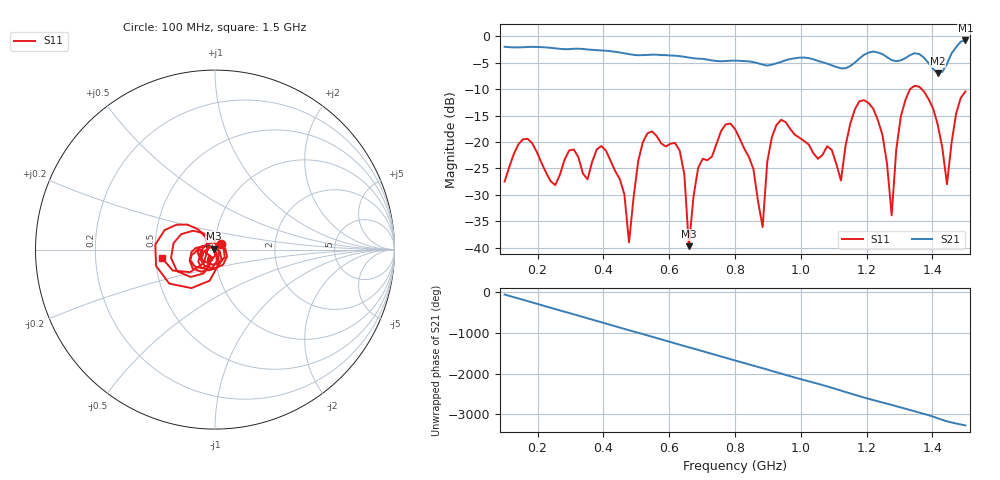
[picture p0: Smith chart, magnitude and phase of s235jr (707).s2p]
! NanoVNA-App
! Date: 2025-09-25 15:09:40
! Start: 100MHz Stop: 1,5GHz Points: 101
! S-Parameter data: F S11 S21 S12 S22
# Hz S RI R 50
!  Frequency  S11_Real  S11_Imag  S21_Real  S21_Imag  S12_Real  S12_Imag  S22_Real  S22_Imag
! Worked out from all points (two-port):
!   101 points, 100 MHz to 1.5 GHz, reference 50 ohm
!   highest |S21| = -0.77 dB at 1.5 GHz (marker M1); lowest = -7.0 dB at 1.416 GHz (marker M2)
!   |S21| within 3 dB of the highest: start of sweep to 635.4 MHz; 1.186 GHz to 1.258 GHz (71.7 MHz wide, 5.87 % of centre) (the widest 2 of 4)
!   lowest |S11| = -39.7 dB at 660 MHz (marker M3), VSWR 1.02, Z = 49.2 + j0.602 ohm
!   |S11| at or under -10 dB: start of sweep to 1.332 GHz; 1.367 GHz to end of sweep
!   S12 and S22 are empty: the file has one direction only
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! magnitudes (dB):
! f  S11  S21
! 100 MHz  -27.5  -2.0
! 170 MHz  -19.4  -2.0
! 338 MHz  -26.0  -2.4
! 408 MHz  -21.6  -2.7
! 478 MHz  -39.0  -3.4
! 520 MHz  -20.0  -3.5
! 576 MHz  -20.3  -3.5
! 632 MHz  -21.6  -3.7
! 660 MHz  -39.7  -4.0
! 688 MHz  -24.9  -4.2
! 800 MHz  -17.5  -4.6
! 884 MHz  -36.1  -5.3
! 926 MHz  -16.8  -5.1
! 1.038 GHz  -22.1  -4.3
! 1.122 GHz  -27.3  -6.0
! 1.206 GHz  -12.6  -3.1
! 1.276 GHz  -33.9  -4.5
! 1.304 GHz  -15.1  -4.5
! 1.332 GHz  -10.0  -3.5
! 1.416 GHz  -16.7  -7.0
! 1.444 GHz  -28.0  -5.2
! 1.5 GHz  -10.4  -0.8
